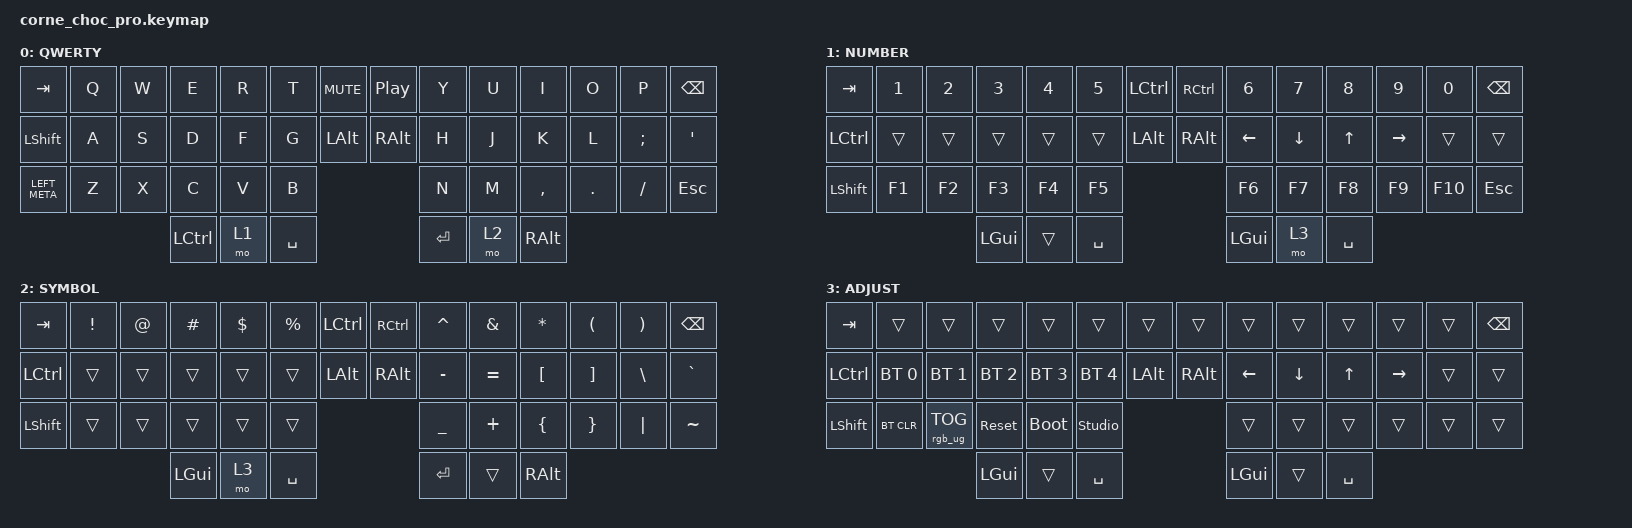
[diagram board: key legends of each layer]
/*
 * Copyright (c) 2020 The ZMK Contributors
 *
 * SPDX-License-Identifier: MIT
 */

#include <behaviors.dtsi>
#include <dt-bindings/zmk/bt.h>
#include <dt-bindings/zmk/keys.h>
#include <dt-bindings/zmk/rgb.h>

/ {
    chosen { zmk,physical-layout = &default_layout; };
};

/ {
    keymap {
        compatible = "zmk,keymap";

        default_layer {
            display-name = "QWERTY";
            bindings = <
&kp TAB         &kp Q  &kp W  &kp E      &kp R  &kp T      &kp C_MUTE  &kp C_PP  &kp Y    &kp U  &kp I      &kp O    &kp P     &kp BSPC
&kp LEFT_SHIFT  &kp A  &kp S  &kp D      &kp F  &kp G      &kp LALT    &kp RALT  &kp H    &kp J  &kp K      &kp L    &kp SEMI  &kp SQT
&kp LEFT_META   &kp Z  &kp X  &kp C      &kp V  &kp B                            &kp N    &kp M  &kp COMMA  &kp DOT  &kp FSLH  &kp ESC
                              &kp LCTRL  &mo 1  &kp SPACE                        &kp RET  &mo 2  &kp RALT
            >;
        };

        lower_layer {
            display-name = "NUMBER";
            bindings = <
&kp TAB    &kp N1  &kp N2  &kp N3    &kp N4  &kp N5     &kp LCTRL  &kp RCTRL  &kp N6    &kp N7    &kp N8     &kp N9     &kp N0  &kp BSPC
&kp LCTRL  &trans  &trans  &trans    &trans  &trans     &kp LALT   &kp RALT   &kp LEFT  &kp DOWN  &kp UP     &kp RIGHT  &trans  &trans
&kp LSHFT  &kp F1  &kp F2  &kp F3    &kp F4  &kp F5                           &kp F6    &kp F7    &kp F8     &kp F9     &kp F10 &kp ESC
                           &kp LGUI  &trans  &kp SPACE                        &kp LGUI  &mo 3     &kp SPACE
            >;
        };

        raise_layer {
            display-name = "SYMBOL";
            bindings = <
&kp TAB    &kp EXCL  &kp AT  &kp HASH  &kp DLLR  &kp PRCNT  &kp LCTRL  &kp RCTRL  &kp CARET  &kp AMPS   &kp ASTRK  &kp LPAR  &kp RPAR  &kp BSPC
&kp LCTRL  &trans    &trans  &trans    &trans    &trans     &kp LALT   &kp RALT   &kp MINUS  &kp EQUAL  &kp LBKT   &kp RBKT  &kp BSLH  &kp GRAVE
&kp LSHFT  &trans    &trans  &trans    &trans    &trans                           &kp UNDER  &kp PLUS   &kp LBRC   &kp RBRC  &kp PIPE  &kp TILDE
                             &kp LGUI  &mo 3     &kp SPACE                        &kp RET    &trans     &kp RALT
            >;
        };

        adjust {
            display-name = "ADJUST";
            bindings = <
&kp TAB    &trans        &trans           &trans        &trans        &trans          &trans    &trans    &trans    &trans    &trans     &trans     &trans  &kp BSPC
&kp LCTRL  &bt BT_SEL 0  &bt BT_SEL 1     &bt BT_SEL 2  &bt BT_SEL 3  &bt BT_SEL 4    &kp LALT  &kp RALT  &kp LEFT  &kp DOWN  &kp UP     &kp RIGHT  &trans  &trans
&kp LSHFT  &bt BT_CLR    &rgb_ug RGB_TOG  &sys_reset    &bootloader   &studio_unlock                      &trans    &trans    &trans     &trans     &trans  &trans
                                          &kp LGUI      &trans        &kp SPACE                           &kp LGUI  &trans    &kp SPACE
            >;
        };
    };
};
